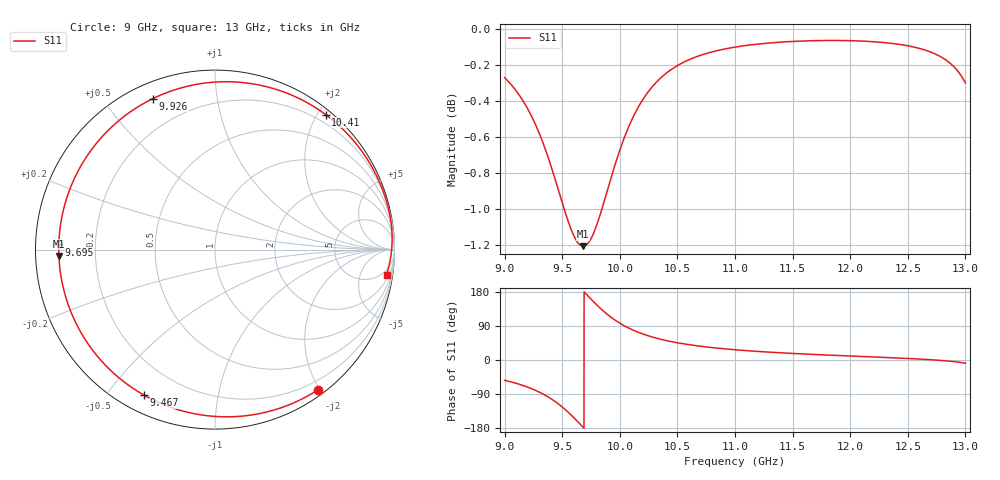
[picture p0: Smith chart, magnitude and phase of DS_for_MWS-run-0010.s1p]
! TOUCHSTONE file generated by CST DESIGN STUDIO
! Date and time: Tue Feb  4 18:05:01 2025
! Project name: C:\Work\MatlabApps\UnitCellOptimizationMatlab\CST\unitcell.cst
! Tree item: Tasks\Sweep1\SPara1\S-Parameters
! Header version: 2024
! Port assignment regex: !\s*Touchstone port\s*([0-9]+)\s*=\s*(CST MWS port|CST DES external port|CST DES block port)\s*(.+)\s* \(\"(.*)\"\)(\s*mode\s*([0-9]+))?.*
! Touchstone port assignment:
! Touchstone port 1 = CST DES external port 1 ("")
# GHz S MA R 50
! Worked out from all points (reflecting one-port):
!   4001 points, 9 GHz to 13 GHz, reference 50 ohm
!   lowest |S11| = -1.2 dB at 9.682 GHz (marker M1), VSWR 14.45, Z = 3.46 - j1.01 ohm
!   phase of S11 starts at -54 deg and turns -315 deg over the sweep
!   S11 on the Smith chart (normalised r, x): 9 GHz: 0.08, -1.98; 9.467 GHz: 0.07, -0.62; 9.695 GHz: 0.07, +0.02; 9.926 GHz: 0.07, +0.67; 10.41 GHz: 0.08, +2.11; 13 GHz: 3, -13
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9  0.9693 -53.6
9.123  0.959 -63.6
9.241  0.9448 -76.5
9.367  0.9234 -95.5
9.467  0.9023 -115.9
9.5  0.895 -123.9
9.55  0.8848 -137.2
9.602  0.8762 -152.4
9.643  0.8719 -165.2
9.682  0.8705 -177.7
9.695  0.8707 178.1
9.753  0.8751 159.6
9.818  0.8859 140.0
9.871  0.8973 125.6
9.926  0.9097 112.3
10  0.9255 97.2
10.094  0.9421 81.8
10.19  0.9548 69.7
10.295  0.9648 59.5
10.413  0.9726 50.7
10.5  0.9768 45.5
10.718  0.9837 35.6
11  0.9884 27.1
11.5  0.992 17.3
12  0.9925 10.5
12.5  0.9893 4.1
12.797  0.9819 -1.3
13  0.966 -8.3
